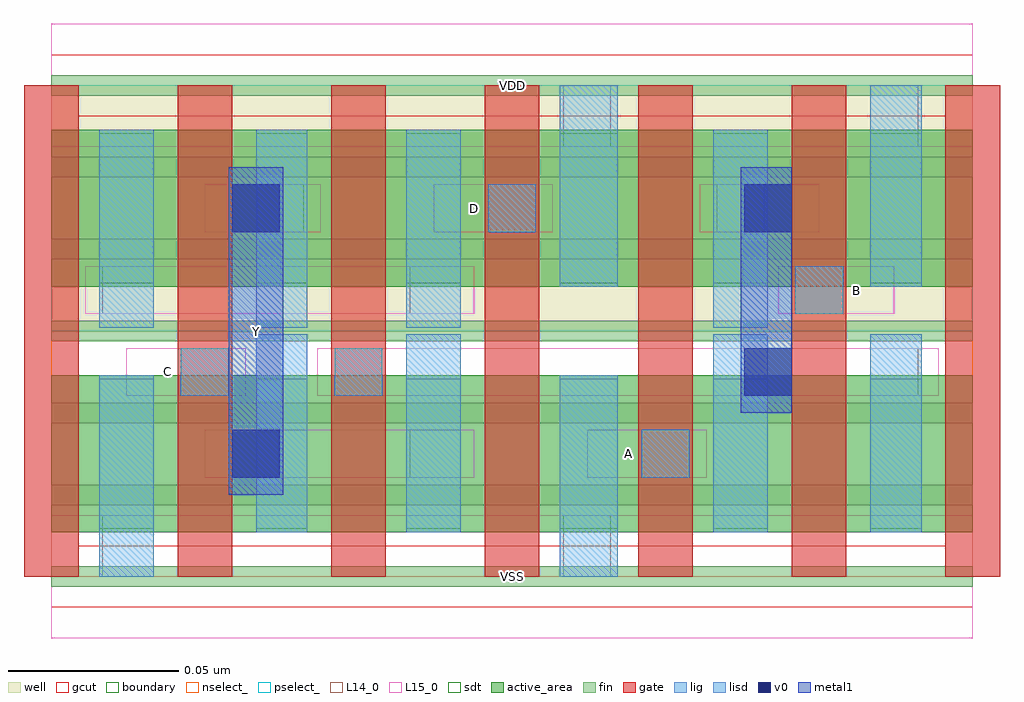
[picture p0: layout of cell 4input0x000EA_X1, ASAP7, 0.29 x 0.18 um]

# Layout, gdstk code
import gdstk
lib = gdstk.Library(unit=1e-6, precision=1e-09)
def R(c, l, rs):  # rectangles x0, y0, x1, y1
    for r in rs: c.add(gdstk.rectangle(r[:2], r[2:], *l))
def A(c, l, x, y, w, h, nx, ny, dx, dy):  # array of equal rectangles
    R(c, l, [(x+i*dx, y+j*dy, x+i*dx+w, y+j*dy+h) for i in range(nx) for j in range(ny)])
def P(c, l, *ps):  # polygons
    for p in ps: c.add(gdstk.Polygon(p, *l))
well = (1, 0)
fin = (2, 0)
gate = (7, 0)
gcut = (10, 0)
active_area = (11, 0)
nselect_ = (12, 0)
pselect_ = (13, 0)
L14_0 = (14, 0)
L15_0 = (15, 0)
lig = (16, 0)
lisd = (17, 0)
v0 = (18, 0)
metal1 = (19, 0)
sdt = (88, 0)
boundary = (100, 0)

c_4input0x000ea_x1 = lib.new_cell('4input0x000EA_X1')
R(c_4input0x000ea_x1, well, [(0,0.072,0.27,0.144)])
A(c_4input0x000ea_x1, fin, 0, -0.003, 0.27, 0.006, 1, 7, 0, 0.024)
A(c_4input0x000ea_x1, gate, -0.008, 0, 0.016, 0.144, 7, 1, 0.045, 0)
P(c_4input0x000ea_x1, gcut, [(0,-0.009),(0,0),(-0.008,0),(-0.008,0.135),(0.008,0.135),(0.008,0.009),(0.262,0.009),(0.262,0.135),(-0.008,0.135),(-0.008,0.144),(0,0.144),(0,0.153),(0.27,0.153),(0.27,0.144),(0.278,0.144),(0.278,0),(0.27,0),(0.27,-0.009)])
R(c_4input0x000ea_x1, active_area, [(0,0.013,0.27,0.059), (0,0.085,0.27,0.131)])
R(c_4input0x000ea_x1, nselect_, [(0,0,0.27,0.072)])
R(c_4input0x000ea_x1, pselect_, [(0,0.072,0.27,0.144)])
R(c_4input0x000ea_x1, L14_0, [(0.015,0,0.03,0.018), (0.15,0,0.164,0.018), (0.105,0.029,0.12,0.043), (0.173,0.029,0.187,0.043), (0.038,0.053,0.052,0.067), (0.083,0.053,0.097,0.067), (0.24,0.053,0.254,0.067), (0.015,0.077,0.03,0.091), (0.105,0.077,0.12,0.091), (0.218,0.077,0.232,0.091), (0.06,0.101,0.074,0.115), (0.128,0.101,0.142,0.115), (0.195,0.101,0.209,0.115), (0.15,0.126,0.164,0.144), (0.24,0.126,0.254,0.144)])
R(c_4input0x000ea_x1, L15_0, [(0,-0.018,0.27,0.018), (0.045,0.029,0.124,0.043), (0.157,0.029,0.192,0.043), (0.022,0.053,0.057,0.067), (0.078,0.053,0.26,0.067), (0.01,0.077,0.124,0.091), (0.213,0.077,0.247,0.091), (0.045,0.101,0.079,0.115), (0.112,0.101,0.147,0.115), (0.19,0.101,0.225,0.115), (0,0.126,0.27,0.162)])
R(c_4input0x000ea_x1, lig, [(0.173,0.029,0.187,0.043), (0.038,0.053,0.052,0.067), (0.083,0.053,0.097,0.067), (0.218,0.077,0.232,0.091), (0.128,0.101,0.142,0.115)])
A(c_4input0x000ea_x1, lisd, 0.014, 0.073, 0.016, 0.058, 3, 1, 0.09, 0)
R(c_4input0x000ea_x1, lisd, [(0.014,0,0.03,0.059), (0.149,0,0.166,0.059), (0.06,0.013,0.075,0.071), (0.104,0.013,0.12,0.071), (0.194,0.013,0.21,0.071), (0.24,0.013,0.255,0.071), (0.06,0.073,0.075,0.131), (0.149,0.085,0.166,0.144), (0.24,0.085,0.255,0.144)])
R(c_4input0x000ea_x1, v0, [(0.053,0.029,0.067,0.043), (0.203,0.053,0.217,0.067), (0.053,0.101,0.067,0.115), (0.203,0.101,0.217,0.115)])
R(c_4input0x000ea_x1, metal1, [(0.052,0.024,0.068,0.12), (0.202,0.048,0.217,0.12)])
A(c_4input0x000ea_x1, sdt, 0.014, 0.014, 0.016, 0.044, 3, 2, 0.09, 0.072)
R(c_4input0x000ea_x1, sdt, [(0.06,0.014,0.075,0.058), (0.149,0.014,0.166,0.058), (0.24,0.014,0.255,0.058), (0.06,0.086,0.075,0.13), (0.149,0.086,0.166,0.13), (0.24,0.086,0.255,0.13)])
R(c_4input0x000ea_x1, boundary, [(0,0,0.27,0.144)])
c_4input0x000ea_x1.add(gdstk.Label('B', (0.236,0.084), layer=15, texttype=251))
c_4input0x000ea_x1.add(gdstk.Label('VSS', (0.135,0), layer=15, texttype=251))
c_4input0x000ea_x1.add(gdstk.Label('VDD', (0.135,0.144), layer=15, texttype=251))
c_4input0x000ea_x1.add(gdstk.Label('A', (0.169,0.036), layer=15, texttype=251))
c_4input0x000ea_x1.add(gdstk.Label('VSS', (0.135,0), layer=15, texttype=251))
c_4input0x000ea_x1.add(gdstk.Label('VDD', (0.135,0.144), layer=15, texttype=251))
c_4input0x000ea_x1.add(gdstk.Label('D', (0.124,0.108), layer=15, texttype=251))
c_4input0x000ea_x1.add(gdstk.Label('VSS', (0.135,0), layer=15, texttype=251))
c_4input0x000ea_x1.add(gdstk.Label('VDD', (0.135,0.144), layer=15, texttype=251))
c_4input0x000ea_x1.add(gdstk.Label('VSS', (0.135,0), layer=15, texttype=251))
c_4input0x000ea_x1.add(gdstk.Label('VDD', (0.135,0.144), layer=15, texttype=251))
c_4input0x000ea_x1.add(gdstk.Label('C', (0.034,0.06), layer=15, texttype=251))
c_4input0x000ea_x1.add(gdstk.Label('VSS', (0.135,0), layer=15, texttype=251))
c_4input0x000ea_x1.add(gdstk.Label('VDD', (0.135,0.144), layer=15, texttype=251))
c_4input0x000ea_x1.add(gdstk.Label('VSS', (0.135,0), layer=3, texttype=251))
c_4input0x000ea_x1.add(gdstk.Label('VSS', (0.135,0), layer=3, texttype=251))
c_4input0x000ea_x1.add(gdstk.Label('VSS', (0.135,0), layer=3, texttype=251))
c_4input0x000ea_x1.add(gdstk.Label('VSS', (0.135,0), layer=3, texttype=251))
c_4input0x000ea_x1.add(gdstk.Label('VSS', (0.135,0), layer=3, texttype=251))
c_4input0x000ea_x1.add(gdstk.Label('VDD', (0.135,0.144), layer=1, texttype=251))
c_4input0x000ea_x1.add(gdstk.Label('VDD', (0.135,0.144), layer=1, texttype=251))
c_4input0x000ea_x1.add(gdstk.Label('VDD', (0.135,0.144), layer=1, texttype=251))
c_4input0x000ea_x1.add(gdstk.Label('VDD', (0.135,0.144), layer=1, texttype=251))
c_4input0x000ea_x1.add(gdstk.Label('VDD', (0.135,0.144), layer=1, texttype=251))
c_4input0x000ea_x1.add(gdstk.Label('Y', (0.06,0.072), layer=19, texttype=251))

lib.write_gds('4input0x000EA_X1.gds')
